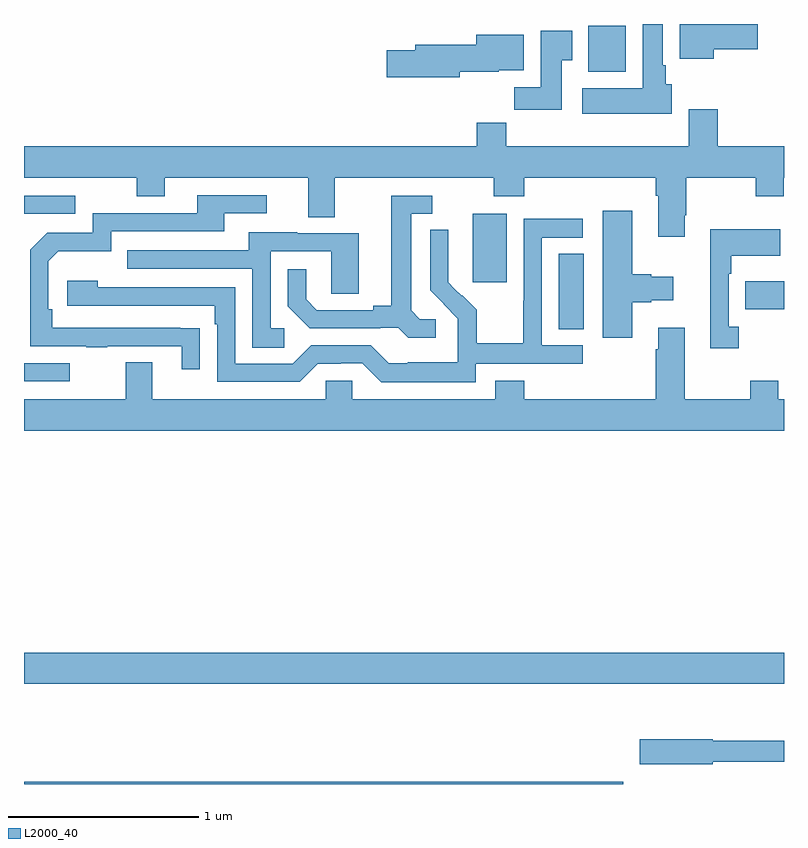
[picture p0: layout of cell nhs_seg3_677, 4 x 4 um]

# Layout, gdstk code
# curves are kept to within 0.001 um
import gdstk
lib = gdstk.Library(unit=1e-6, precision=1e-09)
def R(c, l, rs):  # rectangles x0, y0, x1, y1
    for r in rs: c.add(gdstk.rectangle(r[:2], r[2:], *l))
def P(c, l, *ps):  # polygons
    for p in ps: c.add(gdstk.Polygon(p, *l))
L2000_40 = (2000, 40)

nhs_seg3_677 = lib.new_cell('nhs_seg3_677')
R(nhs_seg3_677, L2000_40, [(145,688.4,148.154,688.412), (145,688.928,149,689.092), (145,690.519,145.24,690.615), (147.815,690.793,147.946,691.19), (148.795,690.898,149,691.045), (147.362,691.041,147.541,691.402), (145,691.401,145.27,691.497), (147.971,692.15,148.168,692.392)])
P(nhs_seg3_677, L2000_40, [(148.63,692.267),(148.861,692.267),(148.861,692.4),(148.451,692.4),(148.451,692.216),(148.63,692.216)],
  [(148.408,692.082),(148.378,692.082),(148.378,692.182),(148.363,692.182),(148.363,692.4),(148.256,692.4),(148.256,692.062),(147.939,692.062),(147.939,691.928),(148.408,691.928)],
  [(147.829,692.209),(147.886,692.209),(147.886,692.365),(147.719,692.365),(147.719,692.068),(147.58,692.068),(147.58,691.95),(147.829,691.95)],
  [(147.294,692.15),(147.498,692.15),(147.498,692.156),(147.631,692.156),(147.631,692.344),(147.38,692.344),(147.38,692.291),(147.059,692.291),(147.059,692.261),(146.91,692.261),(146.91,692.119),(147.294,692.119)],
  [(145,691.592),(145.594,691.592),(145.594,691.493),(145.741,691.493),(145.741,691.592),(146.495,691.592),(146.495,691.384),(146.635,691.384),(146.635,691.592),(147.472,691.592),(147.472,691.493),(147.632,691.493),(147.632,691.592),(148.325,691.592),(148.325,691.496),(148.337,691.496),(148.337,691.281),(148.477,691.281),(148.477,691.393),(148.485,691.393),(148.485,691.592),(148.852,691.592),(148.852,691.493),(148.998,691.493),(148.998,691.592),(149,691.592),(149,691.756),(148.652,691.756),(148.652,691.951),(148.499,691.951),(148.499,691.756),(147.539,691.756),(147.539,691.88),(147.383,691.88),(147.383,691.756),(145,691.756)],
  [(145.925,690.8),(145.148,690.801),(145.148,690.898),(145.128,690.898),(145.128,691.152),(145.181,691.205),(145.458,691.205),(145.458,691.308),(146.053,691.308),(146.053,691.404),(146.278,691.404),(146.278,691.5),(145.913,691.5),(145.913,691.404),(145.362,691.404),(145.362,691.302),(145.122,691.302),(145.032,691.212),(145.032,690.705),(145.327,690.705),(145.327,690.7),(145.439,690.7),(145.439,690.705),(145.829,690.705),(145.829,690.582),(145.925,690.582)],
  [(147.166,690.846),(147.084,690.846),(147.037,690.893),(147.037,691.401),(147.148,691.401),(147.148,691.497),(146.933,691.497),(146.933,690.917),(146.837,690.917),(146.837,690.894),(146.542,690.894),(146.485,690.951),(146.485,691.108),(146.388,691.108),(146.388,690.914),(146.504,690.798),(146.876,690.798),(146.876,690.801),(146.97,690.801),(147.022,690.749),(147.166,690.749)],
  [(148.201,690.935),(148.301,690.935),(148.301,690.947),(148.417,690.947),(148.417,691.069),(148.301,691.069),(148.301,691.082),(148.201,691.082),(148.201,691.417),(148.046,691.417),(148.046,690.75),(148.201,690.75)],
  [(147.378,690.612),(147.94,690.612),(147.94,690.708),(147.726,690.708),(147.726,691.275),(147.94,691.275),(147.94,691.374),(147.63,691.374),(147.63,690.944),(147.628,690.944),(147.628,690.721),(147.383,690.721),(147.383,690.895),(147.306,690.972),(147.303,690.969),(147.233,691.04),(147.234,691.316),(147.138,691.316),(147.138,690.998),(147.284,690.85),(147.284,690.753),(147.282,690.753),(147.282,690.619),(147.019,690.619),(147.019,690.615),(146.919,690.615),(146.826,690.708),(146.511,690.708),(146.415,690.612),(146.112,690.612),(146.112,691.014),(145.388,691.014),(145.388,691.048),(145.227,691.048),(145.227,690.918),(146.003,690.918),(146.003,690.821),(146.016,690.821),(146.016,690.516),(146.451,690.516),(146.547,690.612),(146.666,690.612),(146.666,690.615),(146.781,690.615),(146.881,690.515),(147.378,690.515)],
  [(148.762,690.806),(148.71,690.806),(148.71,691.085),(148.723,691.085),(148.723,691.181),(148.979,691.181),(148.979,691.321),(148.613,691.321),(148.613,690.693),(148.762,690.693)],
  [(146.371,690.798),(146.298,690.798),(146.298,691.203),(146.616,691.203),(146.616,690.979),(146.761,690.979),(146.761,691.299),(146.437,691.299),(146.437,691.303),(146.183,691.303),(146.183,691.209),(145.543,691.209),(145.543,691.113),(146.202,691.113),(146.202,690.697),(146.371,690.697)],
  [(149,690.424),(148.969,690.424),(148.969,690.523),(148.822,690.523),(148.822,690.424),(148.477,690.424),(148.477,690.802),(148.337,690.802),(148.337,690.689),(148.325,690.689),(148.325,690.424),(147.632,690.424),(147.632,690.523),(147.479,690.523),(147.479,690.424),(146.727,690.424),(146.727,690.522),(146.589,690.522),(146.589,690.424),(145.675,690.424),(145.675,690.619),(145.535,690.619),(145.535,690.424),(145,690.424),(145,690.26),(149,690.26)],
  [(148.626,688.518),(149,688.518),(149,688.627),(148.626,688.627),(148.626,688.635),(148.242,688.635),(148.242,688.505),(148.626,688.505)])

lib.write_gds('nhs_seg3_677.gds')
